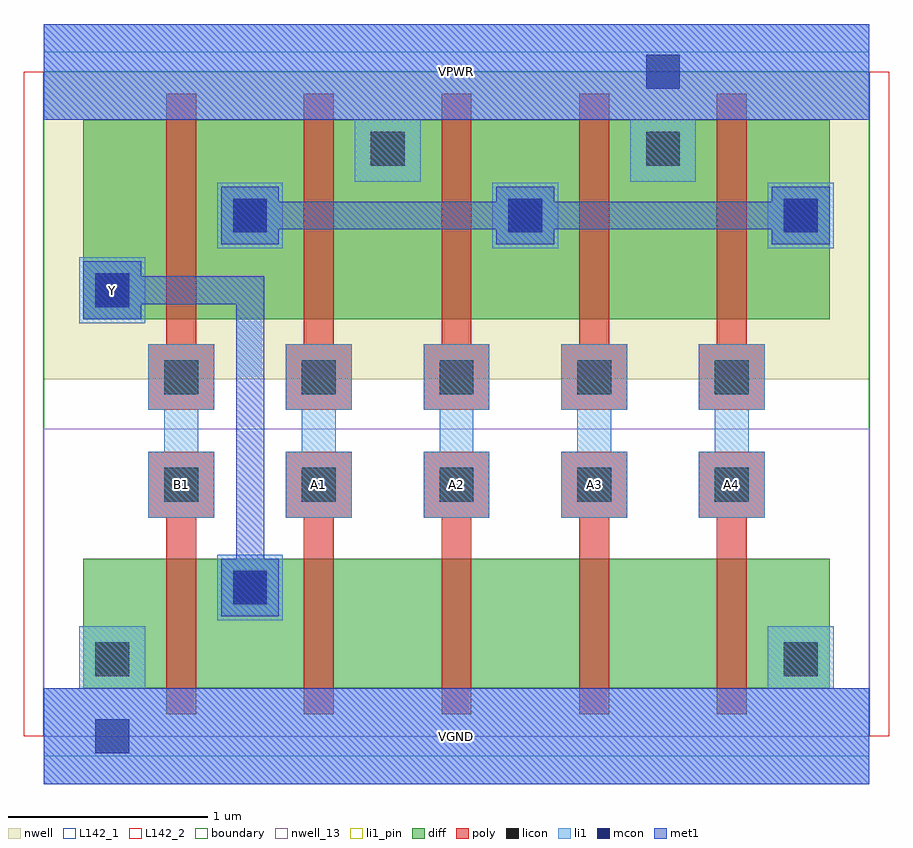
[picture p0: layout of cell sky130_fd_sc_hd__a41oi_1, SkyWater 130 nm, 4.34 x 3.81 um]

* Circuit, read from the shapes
.subckt sky130_fd_sc_hd__a41oi_1 A1 A2 A3 A4 B1 VGND VPWR Y
XM1 Y B1 VGND VSUBS sky130_fd_pr__nfet_01v8 w=0.65 l=0.15
XM2 n1 A1 Y VSUBS sky130_fd_pr__nfet_01v8 w=0.65 l=0.15
XM3 n2 A2 n1 VSUBS sky130_fd_pr__nfet_01v8 w=0.65 l=0.15
XM4 n3 A3 n2 VSUBS sky130_fd_pr__nfet_01v8 w=0.65 l=0.15
XM5 VGND A4 n3 VSUBS sky130_fd_pr__nfet_01v8 w=0.65 l=0.15
XM6 n4 B1 Y n5 sky130_fd_pr__pfet_01v8 w=1 l=0.15
XM7 VPWR A1 n4 n5 sky130_fd_pr__pfet_01v8 w=1 l=0.15
XM8 n4 A2 VPWR n5 sky130_fd_pr__pfet_01v8 w=1 l=0.15
XM9 VPWR A3 n4 n5 sky130_fd_pr__pfet_01v8 w=1 l=0.15
XM10 n4 A4 VPWR n5 sky130_fd_pr__pfet_01v8 w=1 l=0.15
.ends

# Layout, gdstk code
import gdstk
lib = gdstk.Library(unit=1e-6, precision=1e-09)
def R(c, l, rs):  # rectangles x0, y0, x1, y1
    for r in rs: c.add(gdstk.rectangle(r[:2], r[2:], *l))
def A(c, l, x, y, w, h, nx, ny, dx, dy):  # array of equal rectangles
    R(c, l, [(x+i*dx, y+j*dy, x+i*dx+w, y+j*dy+h) for i in range(nx) for j in range(ny)])
def P(c, l, *ps):  # polygons
    for p in ps: c.add(gdstk.Polygon(p, *l))
nwell_13 = (64, 13)
nwell = (64, 20)
diff = (65, 20)
poly = (66, 20)
licon = (66, 44)
li1_pin = (67, 16)
li1 = (67, 20)
mcon = (67, 44)
met1 = (68, 20)
L142_1 = (142, 1)
L142_2 = (142, 2)
boundary = (235, 4)

sky130_fd_sc_hd__a41oi_1 = lib.new_cell('sky130_fd_sc_hd__a41oi_1')
R(sky130_fd_sc_hd__a41oi_1, nwell_13, [(0,0,4.14,1.54)])
R(sky130_fd_sc_hd__a41oi_1, nwell, [(0,1.79,4.14,3.33)])
A(sky130_fd_sc_hd__a41oi_1, diff, 0.615, 0.24, 0.69, 0.65, 4, 1, 0.69, 0)
A(sky130_fd_sc_hd__a41oi_1, diff, 0.615, 2.09, 0.69, 1, 4, 1, 0.69, 0)
R(sky130_fd_sc_hd__a41oi_1, diff, [(0.2,0.24,3.94,0.89), (0.2,0.24,0.615,0.89), (3.375,0.24,3.94,0.89), (0.2,2.09,3.94,3.09), (0.2,2.09,0.615,3.09), (3.375,2.09,3.94,3.09)])
P(sky130_fd_sc_hd__a41oi_1, poly, [(1.995,0.11),(1.995,1.095),(1.905,1.095),(1.905,1.425),(2.235,1.425),(2.235,1.095),(2.145,1.095),(2.145,0.11)],
  [(1.905,1.635),(1.905,1.965),(1.995,1.965),(1.995,3.22),(2.145,3.22),(2.145,1.965),(2.235,1.965),(2.235,1.635)],
  [(1.305,0.11),(1.305,1.095),(1.215,1.095),(1.215,1.425),(1.545,1.425),(1.545,1.095),(1.455,1.095),(1.455,0.11)],
  [(1.215,1.635),(1.215,1.965),(1.305,1.965),(1.305,3.22),(1.455,3.22),(1.455,1.965),(1.545,1.965),(1.545,1.635)],
  [(3.375,0.11),(3.375,1.095),(3.285,1.095),(3.285,1.425),(3.615,1.425),(3.615,1.095),(3.525,1.095),(3.525,0.11)],
  [(3.285,1.635),(3.285,1.965),(3.375,1.965),(3.375,3.22),(3.525,3.22),(3.525,1.965),(3.615,1.965),(3.615,1.635)],
  [(2.685,0.11),(2.685,1.095),(2.595,1.095),(2.595,1.425),(2.925,1.425),(2.925,1.095),(2.835,1.095),(2.835,0.11)],
  [(2.595,1.635),(2.595,1.965),(2.685,1.965),(2.685,3.22),(2.835,3.22),(2.835,1.965),(2.925,1.965),(2.925,1.635)],
  [(0.615,0.11),(0.615,1.095),(0.525,1.095),(0.525,1.425),(0.855,1.425),(0.855,1.095),(0.765,1.095),(0.765,0.11)],
  [(0.525,1.635),(0.525,1.965),(0.615,1.965),(0.615,3.22),(0.765,3.22),(0.765,1.965),(0.855,1.965),(0.855,1.635)])
A(sky130_fd_sc_hd__a41oi_1, licon, 0.605, 1.175, 0.17, 0.17, 5, 2, 0.69, 0.54)
A(sky130_fd_sc_hd__a41oi_1, licon, 0.95, 2.525, 0.17, 0.17, 3, 1, 1.38, 0)
R(sky130_fd_sc_hd__a41oi_1, licon, [(0.26,0.3,0.43,0.47), (3.71,0.3,3.88,0.47), (0.95,0.66,1.12,0.83), (0.26,2.15,0.43,2.32), (1.64,2.86,1.81,3.03), (3.02,2.86,3.19,3.03)])
R(sky130_fd_sc_hd__a41oi_1, li1_pin, [(0,-0.24,4.14,0.24), (0.18,2.07,0.51,2.4), (0,3.09,4.14,3.57)])
P(sky130_fd_sc_hd__a41oi_1, li1_pin, [(2.595,1.095),(2.595,1.425),(2.675,1.425),(2.675,1.635),(2.595,1.635),(2.595,1.965),(2.925,1.965),(2.925,1.635),(2.845,1.635),(2.845,1.425),(2.925,1.425),(2.925,1.095)],
  [(1.905,1.095),(1.905,1.425),(1.985,1.425),(1.985,1.635),(1.905,1.635),(1.905,1.965),(2.235,1.965),(2.235,1.635),(2.155,1.635),(2.155,1.425),(2.235,1.425),(2.235,1.095)],
  [(3.285,1.095),(3.285,1.425),(3.365,1.425),(3.365,1.635),(3.285,1.635),(3.285,1.965),(3.615,1.965),(3.615,1.635),(3.535,1.635),(3.535,1.425),(3.615,1.425),(3.615,1.095)],
  [(0.525,1.095),(0.525,1.425),(0.605,1.425),(0.605,1.635),(0.525,1.635),(0.525,1.965),(0.855,1.965),(0.855,1.635),(0.775,1.635),(0.775,1.425),(0.855,1.425),(0.855,1.095)],
  [(1.215,1.095),(1.215,1.425),(1.295,1.425),(1.295,1.635),(1.215,1.635),(1.215,1.965),(1.545,1.965),(1.545,1.635),(1.465,1.635),(1.465,1.425),(1.545,1.425),(1.545,1.095)])
A(sky130_fd_sc_hd__a41oi_1, li1, 0.87, 2.445, 0.33, 0.33, 3, 1, 1.38, 0)
R(sky130_fd_sc_hd__a41oi_1, li1, [(0.87,0.58,1.2,0.91), (0.18,2.07,0.51,2.4)])
P(sky130_fd_sc_hd__a41oi_1, li1, [(1.905,1.095),(1.905,1.425),(1.985,1.425),(1.985,1.635),(1.905,1.635),(1.905,1.965),(2.235,1.965),(2.235,1.635),(2.155,1.635),(2.155,1.425),(2.235,1.425),(2.235,1.095)],
  [(1.56,2.78),(1.56,3.09),(0,3.09),(0,3.57),(4.14,3.57),(4.14,3.09),(3.27,3.09),(3.27,2.78),(2.94,2.78),(2.94,3.09),(1.89,3.09),(1.89,2.78)],
  [(1.215,1.095),(1.215,1.425),(1.295,1.425),(1.295,1.635),(1.215,1.635),(1.215,1.965),(1.545,1.965),(1.545,1.635),(1.465,1.635),(1.465,1.425),(1.545,1.425),(1.545,1.095)],
  [(0,-0.24),(0,0.24),(0.18,0.24),(0.18,0.55),(0.51,0.55),(0.51,0.24),(3.63,0.24),(3.63,0.55),(3.96,0.55),(3.96,0.24),(4.14,0.24),(4.14,-0.24)],
  [(3.285,1.095),(3.285,1.425),(3.365,1.425),(3.365,1.635),(3.285,1.635),(3.285,1.965),(3.615,1.965),(3.615,1.635),(3.535,1.635),(3.535,1.425),(3.615,1.425),(3.615,1.095)],
  [(2.595,1.095),(2.595,1.425),(2.675,1.425),(2.675,1.635),(2.595,1.635),(2.595,1.965),(2.925,1.965),(2.925,1.635),(2.845,1.635),(2.845,1.425),(2.925,1.425),(2.925,1.095)],
  [(0.525,1.095),(0.525,1.425),(0.605,1.425),(0.605,1.635),(0.525,1.635),(0.525,1.965),(0.855,1.965),(0.855,1.635),(0.775,1.635),(0.775,1.425),(0.855,1.425),(0.855,1.095)])
A(sky130_fd_sc_hd__a41oi_1, mcon, 0.95, 2.525, 0.17, 0.17, 3, 1, 1.38, 0)
R(sky130_fd_sc_hd__a41oi_1, mcon, [(0.26,-0.085,0.43,0.085), (0.95,0.66,1.12,0.83), (0.26,2.15,0.43,2.32), (3.02,3.245,3.19,3.415)])
R(sky130_fd_sc_hd__a41oi_1, met1, [(0,-0.24,4.14,0.24), (0,3.09,4.14,3.57)])
P(sky130_fd_sc_hd__a41oi_1, met1, [(0.89,0.6),(0.89,0.89),(0.965,0.89),(0.965,2.165),(0.49,2.165),(0.49,2.09),(0.2,2.09),(0.2,2.38),(0.49,2.38),(0.49,2.305),(1.105,2.305),(1.105,0.89),(1.18,0.89),(1.18,0.6)],
  [(0.89,2.465),(0.89,2.755),(1.18,2.755),(1.18,2.68),(2.27,2.68),(2.27,2.755),(2.56,2.755),(2.56,2.68),(3.65,2.68),(3.65,2.755),(3.94,2.755),(3.94,2.465),(3.65,2.465),(3.65,2.54),(2.56,2.54),(2.56,2.465),(2.27,2.465),(2.27,2.54),(1.18,2.54),(1.18,2.465)])
R(sky130_fd_sc_hd__a41oi_1, L142_1, [(0,-0.1,4.14,0), (0,3.33,4.14,3.43)])
R(sky130_fd_sc_hd__a41oi_1, L142_2, [(-0.1,0,0,3.33), (4.14,0,4.24,3.33)])
R(sky130_fd_sc_hd__a41oi_1, boundary, [(0,0,4.14,3.33)])
sky130_fd_sc_hd__a41oi_1.add(gdstk.Label('Y', (0.345,2.235), layer=67, texttype=5))
sky130_fd_sc_hd__a41oi_1.add(gdstk.Label('A3', (2.76,1.26), layer=67, texttype=5))
sky130_fd_sc_hd__a41oi_1.add(gdstk.Label('A2', (2.07,1.26), layer=67, texttype=5))
sky130_fd_sc_hd__a41oi_1.add(gdstk.Label('A4', (3.45,1.26), layer=67, texttype=5))
sky130_fd_sc_hd__a41oi_1.add(gdstk.Label('B1', (0.69,1.26), layer=67, texttype=5))
sky130_fd_sc_hd__a41oi_1.add(gdstk.Label('A1', (1.38,1.26), layer=67, texttype=5))
sky130_fd_sc_hd__a41oi_1.add(gdstk.Label('VGND', (2.07,0), layer=67, texttype=5))
sky130_fd_sc_hd__a41oi_1.add(gdstk.Label('VPWR', (2.07,3.33), layer=67, texttype=5))
sky130_fd_sc_hd__a41oi_1.add(gdstk.Label('VGND', (2.07,0), layer=68, texttype=5))
sky130_fd_sc_hd__a41oi_1.add(gdstk.Label('VPWR', (2.07,3.33), layer=68, texttype=5))

lib.write_gds('sky130_fd_sc_hd__a41oi_1.gds')
